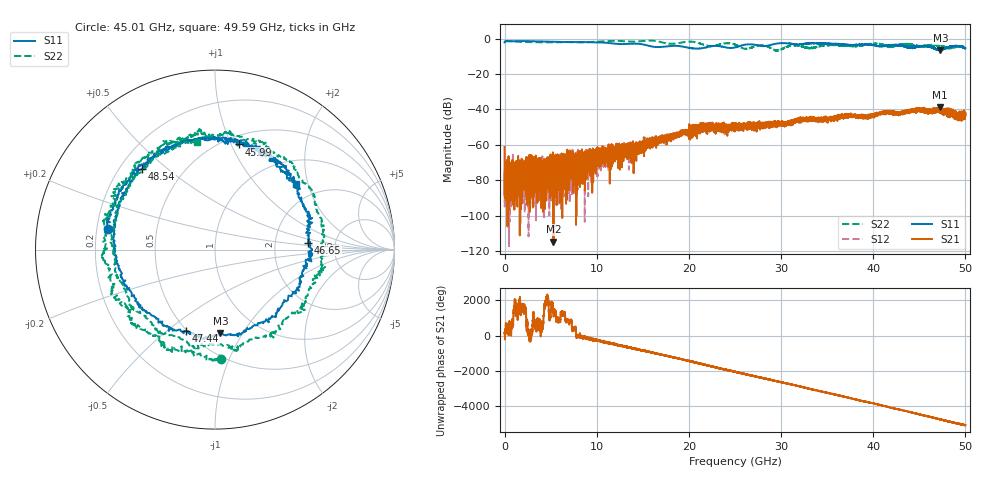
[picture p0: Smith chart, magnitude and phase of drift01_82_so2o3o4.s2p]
!Created with skrf (http://scikit-rf.org).
# Hz S RI R 50.0
!freq ReS11 ImS11 ReS21 ImS21 ReS12 ImS12 ReS22 ImS22
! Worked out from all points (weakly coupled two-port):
!   10001 points, 300 kHz to 50 GHz, reference 50 ohm
!   highest |S21| = -38.84 dB at 47.21 GHz (marker M1); lowest = -114.6 dB at 5.3 GHz (marker M2)
!   lowest |S11| = -6.6 dB at 47.28 GHz (marker M3), VSWR 2.76, Z = 33.7 - j40.3 ohm
!   |S11| at or under -10 dB: nowhere
!   |S22| runs from -6.8 to -1.0 dB; largest |S21 - S12| = 0.0043
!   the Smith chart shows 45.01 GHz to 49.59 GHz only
!   S11 on the Smith chart (normalised r, x): 45.01 GHz: 0.24, +0.09; 45.99 GHz: 0.58, +1.07; 46.65 GHz: 3.13, +0.34; 47.44 GHz: 0.50, -0.58; 48.54 GHz: 0.29, +0.41; 49.59 GHz: 1.51, +1.68
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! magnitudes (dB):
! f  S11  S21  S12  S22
! 300 kHz  -2.1  -61.1  -76.6  -1.3
! 255.3 MHz  -1.4  -68.5  -75.0  -1.4
! 5.3 GHz  -1.7  -114.6  -75.7  -2.0
! 8.335 GHz  -1.9  -66.3  -80.4  -2.1
! 16.67 GHz  -4.8  -57.0  -57.0  -1.6
! 21.53 GHz  -5.3  -49.5  -49.5  -3.3
! 25 GHz  -5.0  -49.3  -50.9  -3.4
! 26.19 GHz  -3.3  -50.8  -49.5  -5.7
! 28.07 GHz  -4.2  -48.0  -48.9  -3.8
! 29.56 GHz  -2.8  -49.2  -48.3  -6.7
! 31.29 GHz  -3.0  -46.7  -46.9  -3.9
! 33.34 GHz  -2.5  -45.6  -46.2  -5.3
! 41.67 GHz  -3.8  -42.2  -41.4  -4.3
! 45.01 GHz  -4.3  -39.9  -39.2  -4.3
! 45.99 GHz  -4.4  -40.1  -40.7  -3.8
! 46.65 GHz  -5.7  -40.8  -40.7  -3.7
! 47.21 GHz  -6.3  -38.8  -40.0  -4.1
! 47.28 GHz  -6.6  -41.2  -39.7  -4.3
! 47.44 GHz  -6.4  -41.8  -39.6  -4.6
! 48.54 GHz  -4.4  -41.3  -42.2  -5.1
! 49.59 GHz  -4.7  -42.2  -43.2  -4.3
! 50 GHz  -5.4  -43.2  -43.4  -4.2
